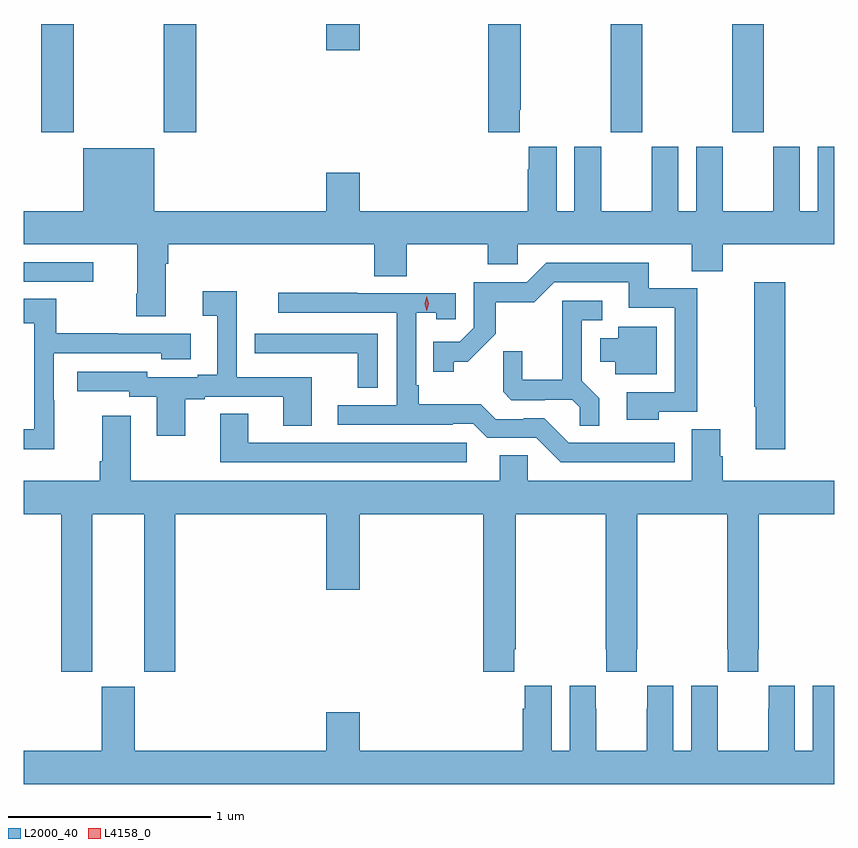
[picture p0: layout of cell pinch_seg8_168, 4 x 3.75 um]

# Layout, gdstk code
import gdstk
lib = gdstk.Library(unit=1e-6, precision=1e-09)
def R(c, l, rs):  # rectangles x0, y0, x1, y1
    for r in rs: c.add(gdstk.rectangle(r[:2], r[2:], *l))
def P(c, l, *ps):  # polygons
    for p in ps: c.add(gdstk.Polygon(p, *l))
L2000_40 = (2000, 40)
L4158_0 = (4158, 0)

pinch_seg8_168 = lib.new_cell('pinch_seg8_168')
R(pinch_seg8_168, L2000_40, [(655.022,1152.279,655.366,1152.375), (655.109,1153.017,655.269,1153.551), (655.714,1153.017,655.874,1153.551), (657.919,1153.017,658.074,1153.551), (658.519,1153.017,658.674,1153.551), (656.516,1153.422,656.68,1153.551)])
P(pinch_seg8_168, L2000_40, [(657.469,1153.129),(657.474,1153.129),(657.474,1153.551),(657.314,1153.551),(657.314,1153.017),(657.469,1153.017)],
  [(655.723,1152.368),(655.736,1152.368),(655.736,1152.464),(656.753,1152.464),(656.753,1152.307),(656.913,1152.307),(656.913,1152.464),(657.313,1152.464),(657.313,1152.366),(657.459,1152.366),(657.459,1152.464),(658.319,1152.464),(658.319,1152.331),(658.472,1152.331),(658.472,1152.464),(659.022,1152.464),(659.022,1152.946),(658.94,1152.946),(658.94,1152.628),(658.852,1152.628),(658.852,1152.946),(658.721,1152.946),(658.721,1152.628),(658.471,1152.628),(658.471,1152.946),(658.34,1152.946),(658.34,1152.628),(658.252,1152.628),(658.252,1152.946),(658.121,1152.946),(658.121,1152.628),(657.871,1152.628),(657.871,1152.946),(657.74,1152.946),(657.74,1152.628),(657.652,1152.628),(657.652,1152.946),(657.515,1152.946),(657.515,1152.833),(657.509,1152.833),(657.509,1152.628),(656.68,1152.628),(656.68,1152.817),(656.516,1152.817),(656.516,1152.628),(655.666,1152.628),(655.666,1152.937),(655.316,1152.937),(655.316,1152.628),(655.022,1152.628),(655.022,1152.464),(655.583,1152.464),(655.583,1152.22),(655.576,1152.22),(655.576,1152.108),(655.723,1152.108)],
  [(658.155,1151.637),(658.345,1151.637),(658.345,1152.246),(658.106,1152.246),(658.106,1152.372),(657.6,1152.372),(657.504,1152.276),(657.243,1152.276),(657.243,1152.051),(657.174,1151.982),(657.043,1151.982),(657.043,1151.835),(657.144,1151.835),(657.144,1151.885),(657.214,1151.885),(657.352,1152.022),(657.352,1152.178),(657.541,1152.178),(657.639,1152.276),(658.007,1152.276),(658.007,1152.15),(658.236,1152.15),(658.236,1151.733),(657.999,1151.733),(657.999,1151.597),(658.155,1151.597)],
  [(658.781,1152.277),(658.627,1152.277),(658.627,1151.663),(658.634,1151.663),(658.634,1151.451),(658.781,1151.451)],
  [(655.819,1151.7),(655.915,1151.7),(655.915,1151.712),(656.303,1151.712),(656.303,1151.569),(656.443,1151.569),(656.443,1151.808),(656.073,1151.808),(656.073,1152.232),(655.905,1152.232),(655.905,1152.112),(655.976,1152.112),(655.976,1151.821),(655.88,1151.821),(655.88,1151.808),(655.632,1151.808),(655.632,1151.835),(655.287,1151.835),(655.287,1151.739),(655.542,1151.739),(655.542,1151.712),(655.679,1151.712),(655.679,1151.52),(655.819,1151.52)],
  [(658.234,1151.484),(657.711,1151.484),(657.591,1151.604),(657.49,1151.604),(657.49,1151.601),(657.351,1151.601),(657.278,1151.674),(656.971,1151.674),(656.971,1151.767),(656.958,1151.767),(656.958,1152.125),(657.057,1152.125),(657.057,1152.093),(657.153,1152.093),(657.153,1152.222),(656.669,1152.222),(656.669,1152.225),(656.277,1152.225),(656.277,1152.126),(656.862,1152.126),(656.862,1151.67),(656.571,1151.67),(656.571,1151.574),(657.14,1151.574),(657.14,1151.577),(657.24,1151.577),(657.309,1151.508),(657.552,1151.508),(657.672,1151.388),(658.234,1151.388)],
  [(655.173,1151.693),(655.17,1151.693),(655.17,1151.925),(655.701,1151.925),(655.701,1151.897),(655.846,1151.897),(655.846,1152.021),(655.487,1152.021),(655.487,1152.024),(655.183,1152.024),(655.183,1152.194),(655.022,1152.194),(655.022,1152.073),(655.074,1152.073),(655.074,1151.551),(655.022,1151.551),(655.022,1151.453),(655.173,1151.453)],
  [(657.863,1151.705),(657.777,1151.791),(657.777,1152.09),(657.877,1152.09),(657.877,1152.186),(657.68,1152.186),(657.68,1151.794),(657.482,1151.794),(657.482,1151.937),(657.388,1151.937),(657.388,1151.735),(657.429,1151.694),(657.594,1151.694),(657.594,1151.697),(657.728,1151.697),(657.765,1151.66),(657.765,1151.569),(657.863,1151.569)],
  [(658.147,1152.058),(657.956,1152.058),(657.956,1152.001),(657.866,1152.001),(657.866,1151.885),(657.941,1151.885),(657.941,1151.822),(658.147,1151.822)],
  [(656.769,1152.021),(656.163,1152.021),(656.163,1151.926),(656.275,1151.926),(656.275,1151.925),(656.671,1151.925),(656.671,1151.755),(656.769,1151.755)],
  [(657.208,1151.484),(656.131,1151.484),(656.131,1151.627),(655.991,1151.627),(655.991,1151.388),(657.208,1151.388)],
  [(657.51,1151.423),(657.371,1151.423),(657.371,1151.296),(655.549,1151.296),(655.549,1151.617),(655.409,1151.617),(655.409,1151.392),(655.397,1151.392),(655.397,1151.296),(655.022,1151.296),(655.022,1151.132),(655.208,1151.132),(655.208,1150.353),(655.36,1150.353),(655.36,1151.132),(655.616,1151.132),(655.616,1150.353),(655.769,1150.353),(655.769,1151.132),(656.516,1151.132),(656.516,1150.758),(656.68,1150.758),(656.68,1151.132),(657.29,1151.132),(657.29,1150.353),(657.443,1150.353),(657.443,1150.465),(657.45,1150.465),(657.45,1151.132),(657.895,1151.132),(657.895,1150.465),(657.897,1150.465),(657.897,1150.353),(658.047,1150.353),(658.047,1150.465),(658.05,1150.465),(658.05,1151.132),(658.495,1151.132),(658.495,1150.465),(658.497,1150.465),(658.497,1150.353),(658.647,1150.353),(658.647,1150.465),(658.65,1150.465),(658.65,1151.132),(659.022,1151.132),(659.022,1151.296),(658.472,1151.296),(658.472,1151.418),(658.459,1151.418),(658.459,1151.552),(658.319,1151.552),(658.319,1151.296),(657.51,1151.296)],
  [(657.716,1150.285),(657.716,1149.964),(657.628,1149.964),(657.628,1150.285),(657.494,1150.285),(657.494,1150.172),(657.485,1150.172),(657.485,1149.964),(656.68,1149.964),(656.68,1150.153),(656.516,1150.153),(656.516,1149.964),(655.57,1149.964),(655.57,1150.281),(655.406,1150.281),(655.406,1149.964),(655.022,1149.964),(655.022,1149.8),(659.022,1149.8),(659.022,1150.285),(658.916,1150.285),(658.916,1149.964),(658.828,1149.964),(658.828,1150.285),(658.698,1150.285),(658.698,1150.172),(658.697,1150.172),(658.697,1149.964),(658.447,1149.964),(658.447,1150.172),(658.446,1150.172),(658.446,1150.285),(658.316,1150.285),(658.316,1149.964),(658.228,1149.964),(658.228,1150.285),(658.098,1150.285),(658.098,1150.172),(658.097,1150.172),(658.097,1149.964),(657.847,1149.964),(657.847,1150.172),(657.846,1150.172),(657.846,1150.285)])
P(pinch_seg8_168, L4158_0, [(657.01,1152.135),(657.001,1152.171),(657.01,1152.206),(657.011,1152.207),(657.011,1152.206),(657.021,1152.171),(657.011,1152.135),(657.011,1152.135)])

lib.write_gds('pinch_seg8_168.gds')
